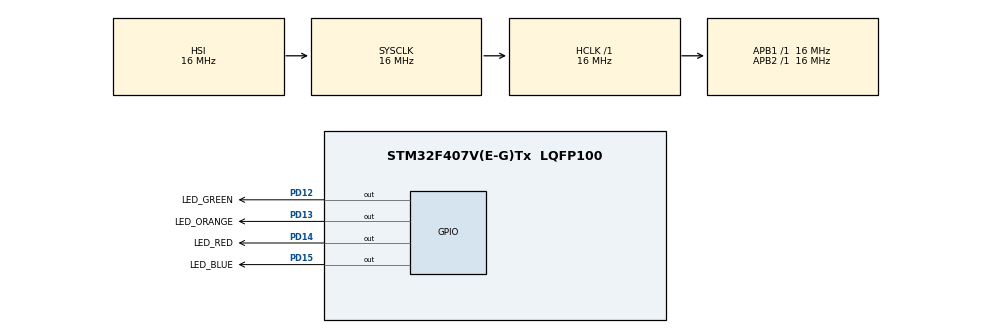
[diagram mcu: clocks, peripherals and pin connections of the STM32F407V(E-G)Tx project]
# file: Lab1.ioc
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Mcu.Family=STM32F4
Mcu.Name=STM32F407V(E-G)Tx
Mcu.Package=LQFP100
NVIC.PriorityGroup=NVIC_PRIORITYGROUP_4
PD12.GPIO_Label=LED_GREEN
PD12.Signal=GPIO_Output
PD13.GPIO_Label=LED_ORANGE
PD13.Signal=GPIO_Output
PD14.GPIO_Label=LED_RED
PD14.Signal=GPIO_Output
PD15.GPIO_Label=LED_BLUE
PD15.Signal=GPIO_Output
ProjectManager.HeapSize=0x200
ProjectManager.StackSize=0x400
ProjectManager.TargetToolchain=STM32CubeIDE
RCC.AHBFreq_Value=16000000
RCC.APB1Freq_Value=16000000
RCC.APB2Freq_Value=16000000
RCC.CortexFreq_Value=16000000
RCC.HSE_VALUE=25000000
RCC.HSI_VALUE=16000000
RCC.LSE_VALUE=32768
RCC.SYSCLKFreq_VALUE=16000000
RCC.VCOOutputFreq_Value=192000000
board=custom

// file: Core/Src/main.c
/* USER CODE BEGIN Header */
/**
  ******************************************************************************
  * @file           : main.c
  * @brief          : Main program body
  ******************************************************************************
  * @attention
  *
  * Copyright (c) 2023 STMicroelectronics.
  * All rights reserved.
  *
  * This software is licensed under terms that can be found in the LICENSE file
  * in the root directory of this software component.
  * If no LICENSE file comes with this software, it is provided AS-IS.
  *
  ******************************************************************************
  */
/* USER CODE END Header */
#include "main.h"

/* USER CODE BEGIN PD */
#define NUM_OF_LEDS 4
#define NUM_OF_BLINK_LOOPS 4
/* USER CODE END PD */

void SystemClock_Config(void);
static void MX_GPIO_Init(void);

int main(void)
{

  /* MCU Configuration--------------------------------------------------------*/

  /* Reset of all peripherals, Initializes the Flash interface and the Systick. */
  HAL_Init();

  /* Configure the system clock */
  SystemClock_Config();

  /* Initialize all configured peripherals */
  MX_GPIO_Init();
  /* USER CODE BEGIN 2 */
  uint16_t leds[NUM_OF_LEDS] = {LED_BLUE_Pin, LED_GREEN_Pin, LED_ORANGE_Pin, LED_RED_Pin};
  unsigned int pin_num = 0;
  /* USER CODE END 2 */

  /* Infinite loop */
  /* USER CODE BEGIN WHILE */
  while (1)
  {
	  HAL_GPIO_WritePin(GPIOD, leds[pin_num % NUM_OF_LEDS], GPIO_PIN_SET);
	  HAL_GPIO_WritePin(GPIOD, leds[(pin_num + 2) % NUM_OF_LEDS], GPIO_PIN_RESET);
	  HAL_Delay(250);

	  pin_num++;
	  if (pin_num == NUM_OF_LEDS*NUM_OF_BLINK_LOOPS){
		  pin_num = 0;
		  for (int i = 0; i < NUM_OF_BLINK_LOOPS; i++){
			  for (int j = 0; j < NUM_OF_LEDS; j+=2){
				  HAL_GPIO_WritePin(GPIOD, leds[(i + j)% NUM_OF_LEDS], GPIO_PIN_SET);
				  HAL_GPIO_WritePin(GPIOD, leds[(i + j + 1) % NUM_OF_LEDS], GPIO_PIN_RESET);
			  }
			  HAL_Delay(1000);
		  }
	  }

    /* USER CODE END WHILE */

  }
}

void SystemClock_Config(void)
{
  RCC_OscInitTypeDef RCC_OscInitStruct = {0};
  RCC_ClkInitTypeDef RCC_ClkInitStruct = {0};

  /** Configure the main internal regulator output voltage
  */
  __HAL_RCC_PWR_CLK_ENABLE();
  __HAL_PWR_VOLTAGESCALING_CONFIG(PWR_REGULATOR_VOLTAGE_SCALE1);

  /** Initializes the RCC Oscillators according to the specified parameters
  * in the RCC_OscInitTypeDef structure.
  */
  RCC_OscInitStruct.OscillatorType = RCC_OSCILLATORTYPE_HSI;
  RCC_OscInitStruct.HSIState = RCC_HSI_ON;
  RCC_OscInitStruct.HSICalibrationValue = RCC_HSICALIBRATION_DEFAULT;
  RCC_OscInitStruct.PLL.PLLState = RCC_PLL_NONE;
  if (HAL_RCC_OscConfig(&RCC_OscInitStruct) != HAL_OK)
  {
    Error_Handler();
  }

  /** Initializes the CPU, AHB and APB buses clocks
  */
  RCC_ClkInitStruct.ClockType = RCC_CLOCKTYPE_HCLK|RCC_CLOCKTYPE_SYSCLK
                              |RCC_CLOCKTYPE_PCLK1|RCC_CLOCKTYPE_PCLK2;
  RCC_ClkInitStruct.SYSCLKSource = RCC_SYSCLKSOURCE_HSI;
  RCC_ClkInitStruct.AHBCLKDivider = RCC_SYSCLK_DIV1;
  RCC_ClkInitStruct.APB1CLKDivider = RCC_HCLK_DIV1;
  RCC_ClkInitStruct.APB2CLKDivider = RCC_HCLK_DIV1;

  if (HAL_RCC_ClockConfig(&RCC_ClkInitStruct, FLASH_LATENCY_0) != HAL_OK)
  {
    Error_Handler();
  }
}

static void MX_GPIO_Init(void)
{
  GPIO_InitTypeDef GPIO_InitStruct = {0};

  /* GPIO Ports Clock Enable */
  __HAL_RCC_GPIOD_CLK_ENABLE();

  /*Configure GPIO pin Output Level */
  HAL_GPIO_WritePin(GPIOD, LED_GREEN_Pin|LED_ORANGE_Pin|LED_RED_Pin|LED_BLUE_Pin, GPIO_PIN_RESET);

  /*Configure GPIO pins : LED_GREEN_Pin LED_ORANGE_Pin LED_RED_Pin LED_BLUE_Pin */
  GPIO_InitStruct.Pin = LED_GREEN_Pin|LED_ORANGE_Pin|LED_RED_Pin|LED_BLUE_Pin;
  GPIO_InitStruct.Mode = GPIO_MODE_OUTPUT_PP;
  GPIO_InitStruct.Pull = GPIO_NOPULL;
  GPIO_InitStruct.Speed = GPIO_SPEED_FREQ_LOW;
  HAL_GPIO_Init(GPIOD, &GPIO_InitStruct);

}

void Error_Handler(void)
{
  __disable_irq();
  while (1)
  {
  }
}
